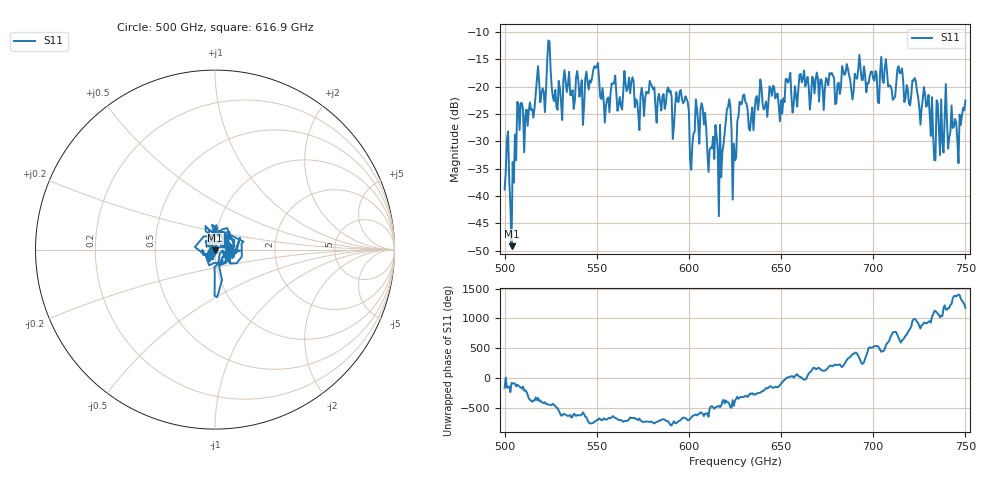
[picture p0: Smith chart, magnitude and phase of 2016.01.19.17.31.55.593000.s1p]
!Created with skrf (http://scikit-rf.org).
# GHz S RI R 50.0
!freq ReS11 ImS11
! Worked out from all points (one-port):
!   401 points, 500 GHz to 750 GHz, reference 50 ohm
!   lowest |S11| = -49.2 dB at 503.8 GHz (marker M1), VSWR 1.01, Z = 50 - j0.345 ohm
!   |S11| at or under -10 dB: start of sweep to end of sweep
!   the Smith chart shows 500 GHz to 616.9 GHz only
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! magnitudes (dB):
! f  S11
! 500 GHz  -38.8
! 503.8 GHz  -49.2
! 508.1 GHz  -27.9
! 520.6 GHz  -20.3
! 523.8 GHz  -11.5
! 527.5 GHz  -20.6
! 531.2 GHz  -26.1
! 549.4 GHz  -16.5
! 553.1 GHz  -20.2
! 562.5 GHz  -21.9
! 566.2 GHz  -20.8
! 593.8 GHz  -22.6
! 598.8 GHz  -22.3
! 601.9 GHz  -30.5
! 607.5 GHz  -23.9
! 616.9 GHz  -27.0
! 621.2 GHz  -23.7
! 625 GHz  -33.5
! 628.8 GHz  -23.1
! 633.8 GHz  -25.5
! 638.1 GHz  -22.2
! 656.2 GHz  -24.7
! 687.5 GHz  -18.8
! 714.4 GHz  -17.5
! 718.8 GHz  -20.5
! 728.8 GHz  -23.7
! 732.5 GHz  -28.9
! 750 GHz  -22.5
